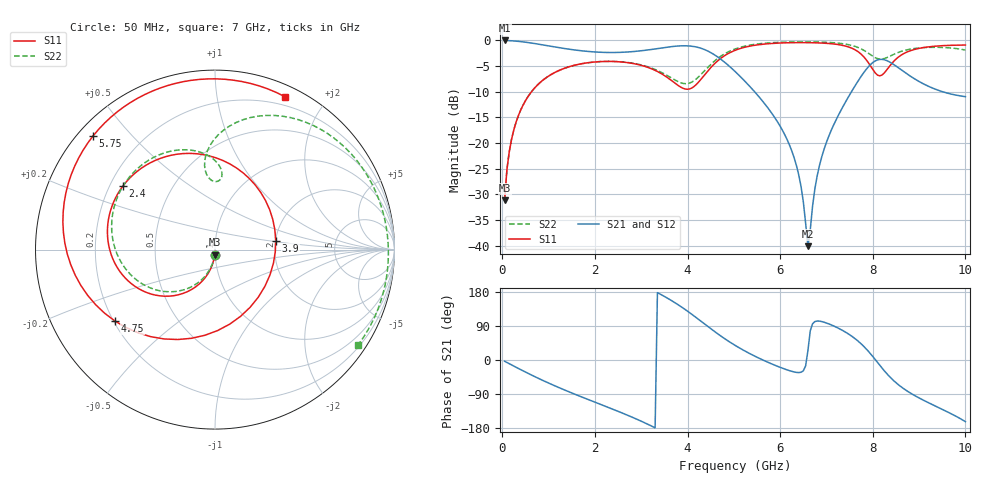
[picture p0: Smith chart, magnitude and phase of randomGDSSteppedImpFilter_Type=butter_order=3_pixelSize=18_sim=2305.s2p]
! freq	dB(S11)	phase(S11)	dB(S12)	phase(S12)
!  dB(S21)	phase(S21)	dB(S22)	phase(S22)
!S-par simulation data
#  GHz  S  DB  R 50
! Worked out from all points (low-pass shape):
!   200 points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, 50 MHz to 10 GHz, reference 50 ohm
!   highest |S21| = -0.01 dB at 50 MHz (marker M1); lowest = -40.1 dB at 6.6 GHz (marker M2)
!   |S21| within 3 dB of the highest: start of sweep to 4.616 GHz
!   lowest |S11| = -31.1 dB at 50 MHz (marker M3), VSWR 1.06, Z = 49.8 - j2.76 ohm
!   |S11| at or under -10 dB: start of sweep to 631.5 MHz
!   |S22| runs from -31.1 to -0.3 dB; largest |S21 - S12| = 0
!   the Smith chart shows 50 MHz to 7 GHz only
!   S11 on the Smith chart (normalised r, x): 50 MHz: 1.00, -0.06; 2.4 GHz: 0.25, +0.29; 3.9 GHz: 2.01, +0.23; 4.75 GHz: 0.21, -0.31; 5.75 GHz: 0.04, +0.39; 7 GHz: 0.11, +1.55
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0.05  -31.13 -93.2  -0.01 -3.3  -0.01 -3.3  -31.13 -93.6
0.2  -19.27 -102.6  -0.07 -13.0  -0.07 -13.0  -19.27 -104.1
0.5  -11.75 -120.5  -0.34 -31.8  -0.34 -31.8  -11.76 -124.2
1.75  -4.48 175.9  -2.06 -99.3  -2.06 -99.3  -4.49 164.5
2.4  -4.10 145.3  -2.36 -130.5  -2.36 -130.5  -4.09 132.9
3.4  -6.30 80.1  -1.53 174.5  -1.53 174.5  -6.07 90.1
3.9  -9.32 8.4  -1.05 137.4  -1.05 137.4  -8.37 87.4
4.4  -6.36 -96.8  -1.91 92.1  -1.91 92.1  -5.60 95.7
4.75  -3.28 -144.6  -3.88 60.6  -3.88 60.6  -2.89 80.6
5.05  -1.85 -174.1  -6.25 36.9  -6.25 36.9  -1.59 63.2
5.75  -0.64 136.9  -13.33 -6.8  -13.33 -6.8  -0.49 24.6
6.35  -0.43 103.5  -24.33 -32.7  -24.33 -32.7  -0.29 -4.4
6.6  -0.43 89.6  -40.09 25.0  -40.09 25.0  -0.29 -15.9
6.7  -0.45 83.9  -32.28 95.6  -32.28 95.6  -0.30 -20.4
7  -0.57 65.4  -19.85 97.6  -19.85 97.6  -0.38 -33.9
7.6  -1.74 11.3  -9.10 58.0  -9.10 58.0  -1.12 -61.9
7.95  -4.96 -57.9  -4.71 16.6  -4.71 16.6  -2.78 -74.8
8.1  -6.75 -111.1  -3.81 -6.1  -3.81 -6.1  -3.54 -74.5
8.35  -5.18 160.0  -4.14 -42.3  -4.14 -42.3  -3.16 -72.5
8.9  -1.76 80.0  -7.48 -93.5  -7.48 -93.5  -1.57 -92.1
9.5  -1.03 40.9  -9.98 -130.2  -9.98 -130.2  -1.37 -123.6
10  -0.90 17.7  -10.96 -162.6  -10.96 -162.6  -1.88 -162.6
